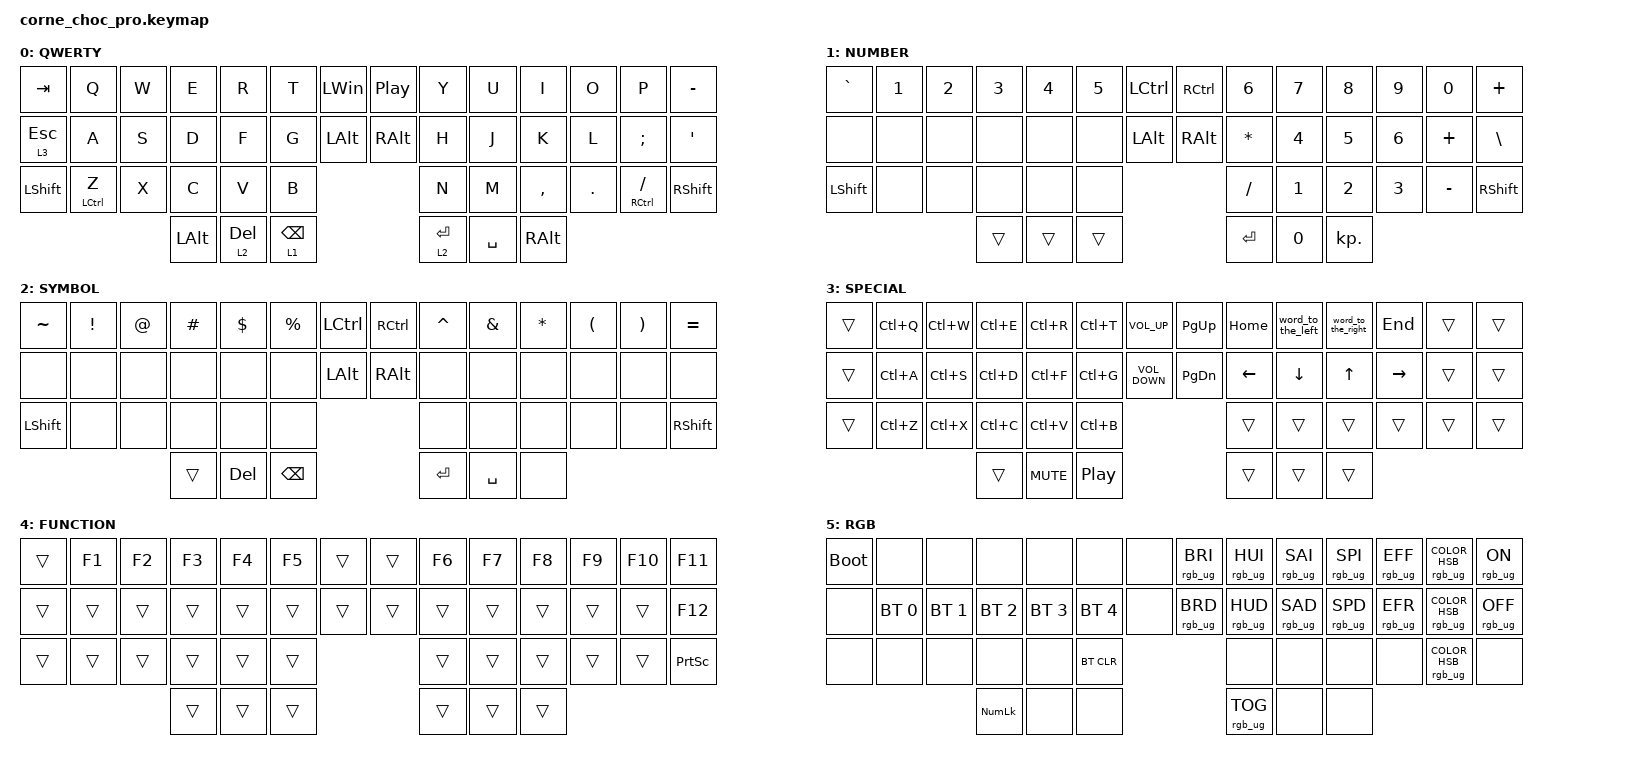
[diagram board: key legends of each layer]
/*
 * Copyright (c) 2020 The ZMK Contributors
 *
 * SPDX-License-Identifier: MIT
 */

#include <behaviors.dtsi>
#include <dt-bindings/zmk/bt.h>
#include <dt-bindings/zmk/keys.h>
#include <dt-bindings/zmk/rgb.h>

/ {
    chosen { zmk,physical-layout = &default_layout; };
};

/ {
    behaviors {
        muteTapToogleLights: muteTapToogleLights {
            compatible = "zmk,behavior-tap-dance";
            label = "MUTETAPTOOGLELIGHTS";
            #binding-cells = <0>;
            bindings = <&kp C_MUTE>, <&rgb_ug RGB_TOG>;
        };
    };

    combos {
        compatible = "zmk,combos";

        left_parentheses {
            bindings = <&kp LEFT_PARENTHESIS>;
            key-positions = <18 19>;
        };

        right_parenthesis {
            bindings = <&kp RIGHT_PARENTHESIS>;
            key-positions = <22 23>;
        };

        left_bracket {
            bindings = <&kp LEFT_BRACE>;
            key-positions = <33 32>;
        };

        right_bracket {
            bindings = <&kp RIGHT_BRACE>;
            key-positions = <34 35>;
        };

        left_brace {
            bindings = <&kp LEFT_BRACKET>;
            key-positions = <4 5>;
        };

        right_brace {
            bindings = <&kp RIGHT_BRACKET>;
            key-positions = <8 9>;
        };

        enter_hr {
            bindings = <&kp ENTER>;
            key-positions = <23 24 25>;
        };

        delete_previous_word {
            bindings = <&delete_previous_word>;
            key-positions = <1 2 3>;
        };

        delete_next_word {
            bindings = <&delete_next_word>;
            key-positions = <2 3 4>;
        };

        capsword {
            bindings = <&caps_word>;
            key-positions = <1 4>;
        };

        bt_profile0 {
            bindings = <&bt BT_SEL 0>;
            key-positions = <6 20 15>;
        };

        bt_profile1 {
            bindings = <&bt BT_SEL 1>;
            key-positions = <6 20 16>;
        };

        bt_profile2 {
            bindings = <&bt BT_SEL 2>;
            key-positions = <6 20 17>;
        };

        bt_profile3 {
            bindings = <&bt BT_SEL 3>;
            key-positions = <6 20 18>;
        };

        bt_profile4 {
            bindings = <&bt BT_SEL 4>;
            key-positions = <6 20 19>;
        };

        bt_clear {
            bindings = <&bt BT_CLR>;
            key-positions = <6 20 41 40>;
        };

        FUNCTION {
            bindings = <&mo 4>;
            key-positions = <41 44>;
        };

        RGB {
            bindings = <&mo 5>;
            key-positions = <44 45>;
        };

        Escape_RH {
            bindings = <&kp ESCAPE>;
            key-positions = <23 24>;
        };

        layer_4 {
            bindings = <&mo 4>;
            key-positions = <40 41>;
        };

        print_screen {
            bindings = <&kp PRINTSCREEN>;
            key-positions = <45 39>;
        };
    };

    macros {
        delete_next_word: delete_next_word {
            compatible = "zmk,behavior-macro";
            #binding-cells = <0>;
            bindings = <&kp LC(LS(RIGHT)) &kp DELETE>;
            label = "DELETE_NEXT_WORD";
        };

        delete_previous_word: delete_previous_word {
            compatible = "zmk,behavior-macro";
            #binding-cells = <0>;
            bindings = <&kp LC(LS(LEFT)) &kp BACKSPACE>;
            label = "DELETE_PREVIOUS_WORD";
        };

        word_to_the_left: word_to_the_left {
            compatible = "zmk,behavior-macro";
            #binding-cells = <0>;
            bindings = <&kp LC(LEFT_ARROW)>;
            label = "WORD_TO_THE_LEFT";
        };

        word_to_the_right: word_to_the_right {
            compatible = "zmk,behavior-macro";
            #binding-cells = <0>;
            bindings = <&kp LC(RIGHT)>;
            label = "WORD_TO_THE_RIGHT";
        };
    };

    keymap {
        compatible = "zmk,keymap";

        default_layer {
            display-name = "QWERTY";

            // --------------------------------------------------------------------------------
            // |  TAB |  Q  |  W  |  E  |  R  |  T  |  MUTE |  PP   |  Y  |  U   |  I  |  O  |  P  | BSPC |
            // | CTRL |  A  |  S  |  D  |  F  |  G  |  LALT |  RALT |  H  |  J   |  K  |  L  |  ;  |  '   |
            // | SHFT |  Z  |  X  |  C  |  V  |  B  |               |  N  |  M   |  ,  |  .  |  /  | ESC  |
            //                    | GUI | LWR | SPC |               | ENT | RSE  | ALT |

            bindings = <
&kp TAB       &kp Q               &kp W  &kp E         &kp R         &kp T            &kp LEFT_WIN  &kp C_PP  &kp Y        &kp U      &kp I      &kp O    &kp P                    &kp MINUS
&lt 3 ESCAPE  &kp A               &kp S  &kp D         &kp F         &kp G            &kp LALT      &kp RALT  &kp H        &kp J      &kp K      &kp L    &kp SEMICOLON            &kp SQT
&kp LSHFT     &mt LEFT_CONTROL Z  &kp X  &kp C         &kp V         &kp B                                    &kp N        &kp M      &kp COMMA  &kp DOT  &mt RIGHT_CONTROL SLASH  &kp RIGHT_SHIFT
                                         &kp LEFT_ALT  &lt 2 DELETE  &lt 1 BACKSPACE                          &lt 2 ENTER  &kp SPACE  &kp RALT
            >;
        };

        lower_layer {
            display-name = "NUMBER";

            // -----------------------------------------------------------------------------------------
            // |  TAB |  1  |  2  |  3  |  4  |  5    |  LCTRL | RCTRL |  6  |  7  |  8  |  9  |  0  | BSPC |
            // | CTRL | BT1 | BT2 | BT3 | BT4 | BT5   |  LALT  | RALT  | LFT | DWN |  UP | RGT |     |      |
            // | SHFT | BTCR| RGB | RST | BOOT| Unlock|        |       |     |     |     |     |     |      |
            //                    | GUI |     | SPC   |        | ENT   |     | ALT |

            bindings = <
&kp GRAVE  &kp N1  &kp N2  &kp N3  &kp N4  &kp N5  &kp LCTRL  &kp RCTRL  &kp N6        &kp N7        &kp N8        &kp N9        &kp N0     &kp PLUS
&none      &none   &none   &none   &none   &none   &kp LALT   &kp RALT   &kp ASTERISK  &kp NUMBER_4  &kp N5        &kp NUMBER_6  &kp PLUS   &kp BACKSLASH
&kp LSHFT  &none   &none   &none   &none   &none                         &kp SLASH     &kp NUMBER_1  &kp NUMBER_2  &kp NUMBER_3  &kp MINUS  &kp RIGHT_SHIFT
                           &trans  &trans  &trans                        &kp ENTER     &kp N0        &kp KP_DOT
            >;
        };

        raise_layer {
            display-name = "SYMBOL";

            // -----------------------------------------------------------------------------------------
            // |  TAB |  !  |  @  |  #  |  $  |  %  | LCTRL | RCTRL |  ^  |  &  |  *  |  (  |  )  | BSPC |
            // | CTRL |     |     |     |     |     |  LALT | RALT  |  -  |  =  |  [  |  ]  |  \  |  `   |
            // | SHFT |     |     |     |     |     |               |  _  |  +  |  {  |  }  | "|" |  ~   |
            //                    | GUI |     | SPC |               | ENT |     | ALT |

            bindings = <
&kp TILDE  &kp EXCL  &kp AT  &kp HASH  &kp DLLR    &kp PRCNT      &kp LCTRL  &kp RCTRL  &kp CARET  &kp AMPS   &kp ASTRK  &kp LPAR  &kp RPAR  &kp EQUAL
&none      &none     &none   &none     &none       &none          &kp LALT   &kp RALT   &none      &none      &none      &none     &none     &none
&kp LSHFT  &none     &none   &none     &none       &none                                &none      &none      &none      &none     &none     &kp RIGHT_SHIFT
                             &trans    &kp DELETE  &kp BACKSPACE                        &kp RET    &kp SPACE  &none
            >;
        };

        SPECIAL {
            bindings = <
&trans  &kp LC(Q)  &kp LC(W)  &kp LC(E)  &kp LC(R)   &kp LC(T)         &kp C_VOLUME_UP    &kp PAGE_UP    &kp HOME        &word_to_the_left  &word_to_the_right  &kp END    &trans  &trans
&trans  &kp LC(A)  &kp LC(S)  &kp LC(D)  &kp LC(F)   &kp LC(G)         &kp C_VOLUME_DOWN  &kp PAGE_DOWN  &kp LEFT_ARROW  &kp DOWN_ARROW     &kp UP_ARROW        &kp RIGHT  &trans  &trans
&trans  &kp LC(Z)  &kp LC(X)  &kp LC(C)  &kp LC(V)   &kp LC(B)                                           &trans          &trans             &trans              &trans     &trans  &trans
                              &trans     &kp C_MUTE  &kp C_PLAY_PAUSE                                    &trans          &trans             &trans
            >;
        };

        FUNCTION {
            bindings = <
&trans  &kp F1  &kp F2  &kp F3  &kp F4  &kp F5  &trans  &trans  &kp F6  &kp F7  &kp F8  &kp F9  &kp F10  &kp F11
&trans  &trans  &trans  &trans  &trans  &trans  &trans  &trans  &trans  &trans  &trans  &trans  &trans   &kp F12
&trans  &trans  &trans  &trans  &trans  &trans                  &trans  &trans  &trans  &trans  &trans   &kp PRINTSCREEN
                        &trans  &trans  &trans                  &trans  &trans  &trans
            >;
        };

        RGB {
            bindings = <
&bootloader  &none         &none         &none         &none         &none         &none  &rgb_ug RGB_BRI  &rgb_ug RGB_HUI  &rgb_ug RGB_SAI  &rgb_ug RGB_SPI  &rgb_ug RGB_EFF  &rgb_ug RGB_COLOR_HSB(223,90,65)  &rgb_ug RGB_ON
&none        &bt BT_SEL 0  &bt BT_SEL 1  &bt BT_SEL 2  &bt BT_SEL 3  &bt BT_SEL 4  &none  &rgb_ug RGB_BRD  &rgb_ug RGB_HUD  &rgb_ug RGB_SAD  &rgb_ug RGB_SPD  &rgb_ug RGB_EFR  &rgb_ug RGB_COLOR_HSB(124,95,31)  &rgb_ug RGB_OFF
&none        &none         &none         &none         &none         &bt BT_CLR                            &none            &none            &none            &none            &rgb_ug RGB_COLOR_HSB(38,96,35)   &none
                                         &kp KP_NUM    &none         &none                                 &rgb_ug RGB_TOG  &none            &none
            >;
        };
    };
};
